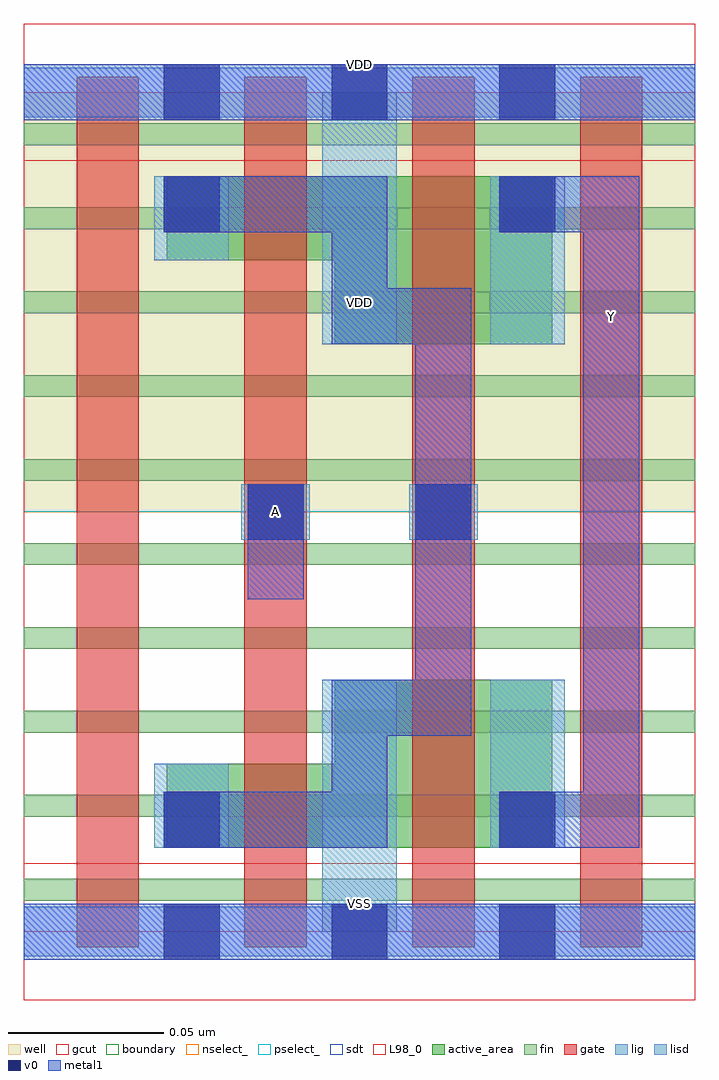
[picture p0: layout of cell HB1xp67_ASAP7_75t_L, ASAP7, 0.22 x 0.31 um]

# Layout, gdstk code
import gdstk
lib = gdstk.Library(unit=1e-6, precision=2.5e-10)
def R(c, l, rs):  # rectangles x0, y0, x1, y1
    for r in rs: c.add(gdstk.rectangle(r[:2], r[2:], *l))
def A(c, l, x, y, w, h, nx, ny, dx, dy):  # array of equal rectangles
    R(c, l, [(x+i*dx, y+j*dy, x+i*dx+w, y+j*dy+h) for i in range(nx) for j in range(ny)])
def P(c, l, *ps):  # polygons
    for p in ps: c.add(gdstk.Polygon(p, *l))
well = (1, 0)
fin = (2, 0)
gate = (7, 0)
gcut = (10, 0)
active_area = (11, 0)
nselect_ = (12, 0)
pselect_ = (13, 0)
lig = (16, 0)
lisd = (17, 0)
v0 = (18, 0)
metal1 = (19, 0)
sdt = (88, 0)
L98_0 = (98, 0)
boundary = (100, 0)

hb1xp67_asap7_75t_l = lib.new_cell('HB1xp67_ASAP7_75t_L')
R(hb1xp67_asap7_75t_l, well, [(0,0.135,0.216,0.27)])
A(hb1xp67_asap7_75t_l, fin, 0, 0.01, 0.216, 0.007, 1, 10, 0, 0.027)
A(hb1xp67_asap7_75t_l, gate, 0.017, -0.005, 0.02, 0.28, 4, 1, 0.054, 0)
R(hb1xp67_asap7_75t_l, gcut, [(0,-0.022,0.216,0.022), (0,0.248,0.216,0.292)])
P(hb1xp67_asap7_75t_l, active_area, [(0.17,0.081),(0.1,0.081),(0.1,0.054),(0.046,0.054),(0.046,0.027),(0.17,0.027)],
  [(0.046,0.216),(0.1,0.216),(0.1,0.189),(0.17,0.189),(0.17,0.243),(0.046,0.243)])
R(hb1xp67_asap7_75t_l, nselect_, [(0,0,0.216,0.135)])
R(hb1xp67_asap7_75t_l, pselect_, [(0,0.135,0.216,0.27)])
R(hb1xp67_asap7_75t_l, lig, [(0,-0.008,0.216,0.008), (0.07,0.126,0.092,0.144), (0.124,0.126,0.146,0.144), (0,0.262,0.216,0.278)])
R(hb1xp67_asap7_75t_l, lisd, [(0.096,0,0.12,0.081), (0.096,0,0.12,0.081), (0.042,0.027,0.066,0.054), (0.15,0.027,0.174,0.081), (0.096,0.189,0.12,0.27), (0.096,0.189,0.12,0.27), (0.15,0.189,0.174,0.243), (0.042,0.216,0.066,0.243)])
A(hb1xp67_asap7_75t_l, v0, 0.045, -0.009, 0.018, 0.018, 3, 2, 0.054, 0.27)
R(hb1xp67_asap7_75t_l, v0, [(0.045,0.027,0.063,0.045), (0.153,0.027,0.171,0.045), (0.072,0.126,0.09,0.144), (0.126,0.126,0.144,0.144), (0.045,0.225,0.063,0.243), (0.153,0.225,0.171,0.243)])
R(hb1xp67_asap7_75t_l, metal1, [(0,-0.009,0.216,0.009), (0.045,0.027,0.063,0.045), (0.153,0.027,0.171,0.045), (0.072,0.107,0.09,0.144), (0.072,0.126,0.09,0.144), (0.126,0.126,0.144,0.144), (0.045,0.225,0.063,0.243), (0.153,0.225,0.171,0.243), (0,0.261,0.216,0.279)])
P(hb1xp67_asap7_75t_l, metal1, [(0.117,0.207),(0.117,0.243),(0.045,0.243),(0.045,0.225),(0.099,0.225),(0.099,0.189),(0.126,0.189),(0.126,0.081),(0.099,0.081),(0.099,0.045),(0.045,0.045),(0.045,0.027),(0.117,0.027),(0.117,0.063),(0.144,0.063),(0.144,0.207)],
  [(0.153,0.243),(0.153,0.225),(0.18,0.225),(0.18,0.045),(0.153,0.045),(0.153,0.027),(0.198,0.027),(0.198,0.243)])
R(hb1xp67_asap7_75t_l, sdt, [(0.042,0.027,0.066,0.054), (0.096,0.027,0.12,0.081), (0.096,0.027,0.12,0.081), (0.15,0.027,0.174,0.081), (0.096,0.189,0.12,0.243), (0.096,0.189,0.12,0.243), (0.15,0.189,0.174,0.243), (0.042,0.216,0.066,0.243)])
R(hb1xp67_asap7_75t_l, L98_0, [(0,0,0.216,0.27)])
R(hb1xp67_asap7_75t_l, boundary, [(0,0,0.216,0.27)])
hb1xp67_asap7_75t_l.add(gdstk.Label('VDD', (0.108,0.2025), layer=1, texttype=251))
hb1xp67_asap7_75t_l.add(gdstk.Label('VSS', (0.108,-0.0675), layer=3, texttype=251))
hb1xp67_asap7_75t_l.add(gdstk.Label('VSS', (0.108,0.009), layer=19, texttype=251))
hb1xp67_asap7_75t_l.add(gdstk.Label('VDD', (0.108,0.279), layer=19, texttype=251))
hb1xp67_asap7_75t_l.add(gdstk.Label('A', (0.081,0.135), layer=19, texttype=251))
hb1xp67_asap7_75t_l.add(gdstk.Label('Y', (0.189,0.198), layer=19, texttype=251))

lib.write_gds('HB1xp67_ASAP7_75t_L.gds')
